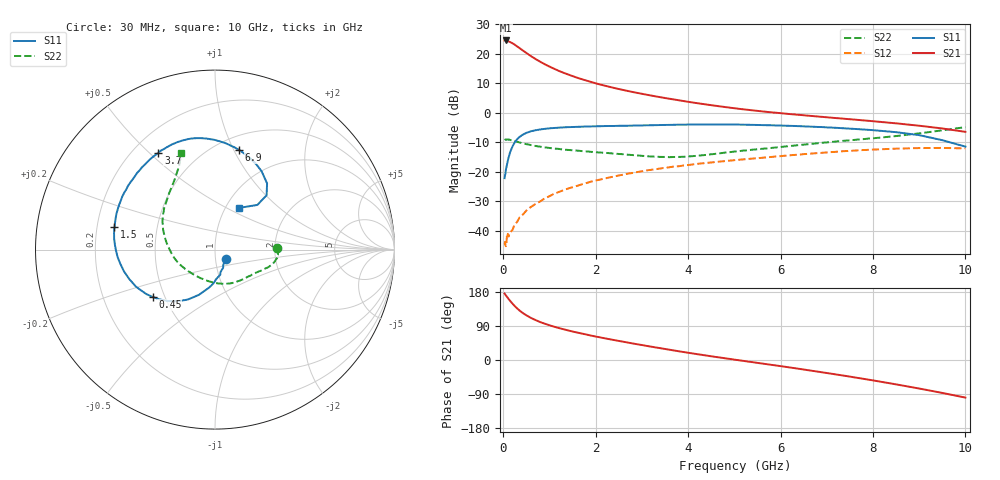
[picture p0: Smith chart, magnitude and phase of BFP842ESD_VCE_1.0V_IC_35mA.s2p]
! Infineon Technologies  Discrete & RF Semiconductors
! BFP842ESD
! VCE =  1.0 V,  IC =  35 mA
! Common Emitter S-Parameters:  May 2012
# GHz  S  MA  R  50
!  f  S11  S21  S12  S22
! GHz  MAG  ANG  MAG  ANG  MAG  ANG  MAG  ANG
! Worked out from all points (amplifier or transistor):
!   99 points, 30 MHz to 10 GHz, reference 50 ohm
!   highest |S21| = 24.5 dB at 60 MHz (marker M1)
!   |S21| within 3 dB of that: start of sweep to 389 MHz
!   unconditionally stable (mu >= 1): start of sweep to end of sweep
!   at 350 MHz: K = 1.82, MAG = 23.5 dB, |S12| = -35.5 dB
!   at 3.5 GHz: K = 1.46, MAG = 7.8 dB, |S12| = -18.7 dB
!   at 10 GHz: K = 2.55, MAG = -4.1 dB, |S12| = -12.1 dB
!   S11 on the Smith chart (normalised r, x): 30 MHz: 1.12, -0.12; 450 MHz: 0.43, -0.28; 1.5 GHz: 0.27, +0.10; 3.7 GHz: 0.30, +0.54; 6.9 GHz: 0.64, +1.05; 10 GHz: 1.15, +0.57
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0.03  0.0781 -41.2  16.76 175.3  0.0059 44.5  0.3462 1.1
0.05  0.0951 -60.7  16.57 171.7  0.0056 4.6  0.35 -1.7
0.06  0.1118 -66.1  16.77 169.9  0.0055 46.7  0.3529 -2.4
0.11  0.1665 -88.4  16.25 161.8  0.0082 48.4  0.3506 -5.8
0.15  0.2155 -99.1  15.77 155.9  0.0093 48.9  0.3465 -8.5
0.2  0.2682 -109.7  15.01 148.8  0.0104 52.3  0.3385 -11.5
0.25  0.3165 -118.5  14.22 142.2  0.013 52.9  0.3313 -13.9
0.35  0.3876 -132.3  12.5 130.9  0.0167 58.5  0.3147 -17.8
0.45  0.4364 -142.9  10.97 121.8  0.0198 55.4  0.3001 -20.4
0.6  0.4859 -154.7  9.112 111.1  0.0254 61.9  0.2838 -24.3
0.8  0.5218 -166.7  7.31 100.1  0.0315 59.9  0.2663 -28.2
1.1  0.5521 -179.7  5.566 87.9  0.0425 58.6  0.248 -34.5
1.5  0.5736 167.5  4.178 75.2  0.0549 56.1  0.2314 -43.8
1.7  0.5811 162.1  3.701 69.8  0.0613 54.0  0.2243 -48.5
2.4  0.5973 145.8  2.63 52.6  0.0832 46.1  0.2037 -68.3
3.4  0.6196 125.8  1.834 31.2  0.1137 32.8  0.1787 -103.9
3.7  0.6258 120.2  1.676 25.0  0.123 29.0  0.1783 -116.4
5.1  0.63 99.8  1.167 -0.7  0.1597 9.5  0.224 -164.2
6.7  0.5802 79.2  0.879 -28.8  0.2045 -14.9  0.2989 162.3
6.9  0.572 76.3  0.852 -32.5  0.2101 -18.4  0.3102 158.9
8.5  0.4692 51.8  0.662 -64.3  0.2466 -51.3  0.4031 129.6
10  0.2669 60.4  0.475 -99.2  0.249 -91.6  0.5709 109.1
